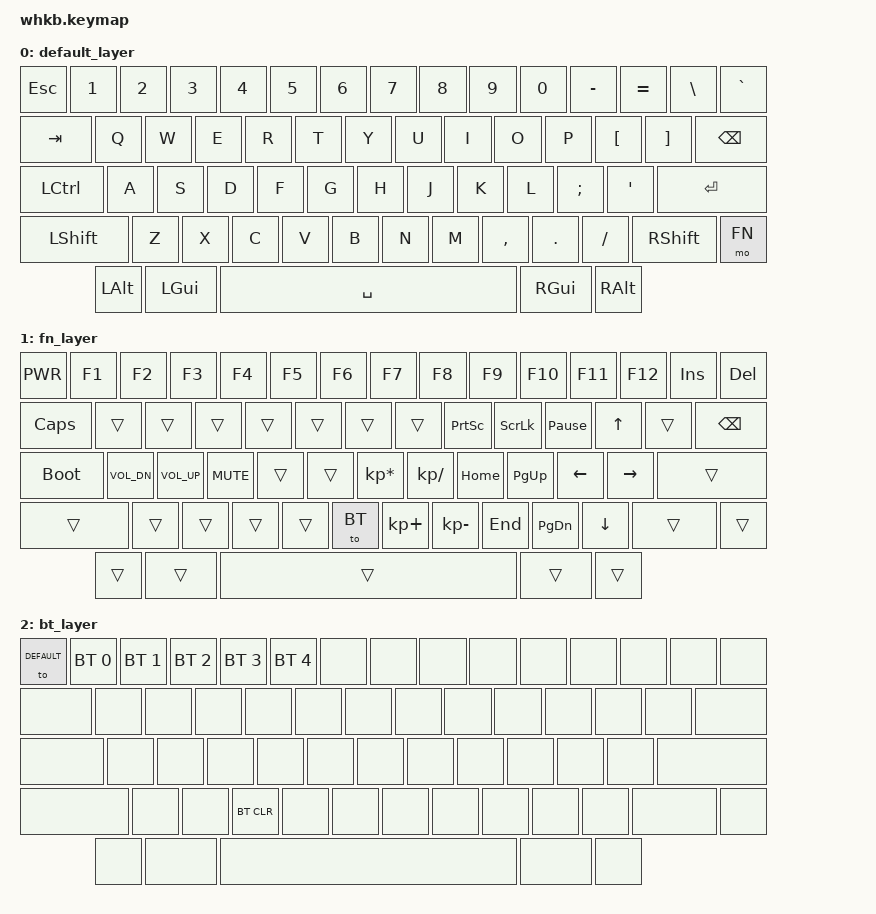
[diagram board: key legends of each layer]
/*
 * Copyright (c) 2025 Stefan Sundin (4pplet)
 *
 * SPDX-License-Identifier: MIT
 */

#include <behaviors.dtsi>
#include <dt-bindings/zmk/keys.h>
#include <dt-bindings/zmk/bt.h>

#define DEFAULT 0
#define FN 1
#define BT 2

/ {
    keymap {
        compatible = "zmk,keymap";

        default_layer {
            bindings = <
&kp ESC   &kp N1 &kp N2 &kp N3 &kp N4 &kp N5 &kp N6 &kp N7 &kp N8 &kp N9 &kp N0    &kp MINUS &kp EQUAL &kp BSLH &kp GRAVE
&kp TAB   &kp Q  &kp W  &kp E  &kp R  &kp T  &kp Y  &kp U  &kp I  &kp O  &kp P     &kp LBKT  &kp RBKT  &kp BSPC
&kp LCTRL &kp A  &kp S  &kp D  &kp F  &kp G  &kp H  &kp J  &kp K  &kp L  &kp SEMI  &kp SQT   &kp ENTER
&kp LSHFT &kp Z  &kp X  &kp C  &kp V  &kp B  &kp N  &kp M  &kp COMMA &kp DOT &kp SLASH &kp RSHFT &mo FN
&kp LALT  &kp LGUI                    &kp SPACE                   &kp RGUI &kp RALT
            >;
        };

        fn_layer {
            bindings = <
&kp K_PWR &kp F1       &kp F2       &kp F3     &kp F4 &kp F5 &kp F6          &kp F7        &kp F8    &kp F9    &kp F10         &kp F11   &kp F12   &kp INS  &kp DEL
&kp CAPS  &trans       &trans       &trans     &trans &trans &trans          &trans        &kp PSCRN &kp SLCK  &kp PAUSE_BREAK &kp UP    &trans    &kp BSPC
&bootloader &kp K_VOL_DN &kp K_VOL_UP &kp K_MUTE &trans &trans &kp KP_MULTIPLY &kp KP_DIVIDE &kp HOME  &kp PG_UP &kp LEFT        &kp RIGHT &trans
&trans    &trans       &trans       &trans     &trans &to BT &kp KP_PLUS     &kp KP_MINUS  &kp END   &kp PG_DN &kp DOWN        &trans    &trans
&trans    &trans                               &trans                                      &trans    &trans
            >;
        };

        bt_layer {
            bindings = <
&to DEFAULT &bt BT_SEL 0 &bt BT_SEL 1 &bt BT_SEL 2 &bt BT_SEL 3 &bt BT_SEL 4 &none &none &none &none &none &none &none &none &none
&none       &none        &none        &none        &none        &none        &none &none &none &none &none &none &none &none
&none       &none        &none        &none        &none        &none        &none &none &none &none &none &none &none
&none       &none        &none        &bt BT_CLR   &none        &none        &none &none &none &none &none &none &none
&none       &none                                  &none                                 &none &none
            >;
        };
    };
};
